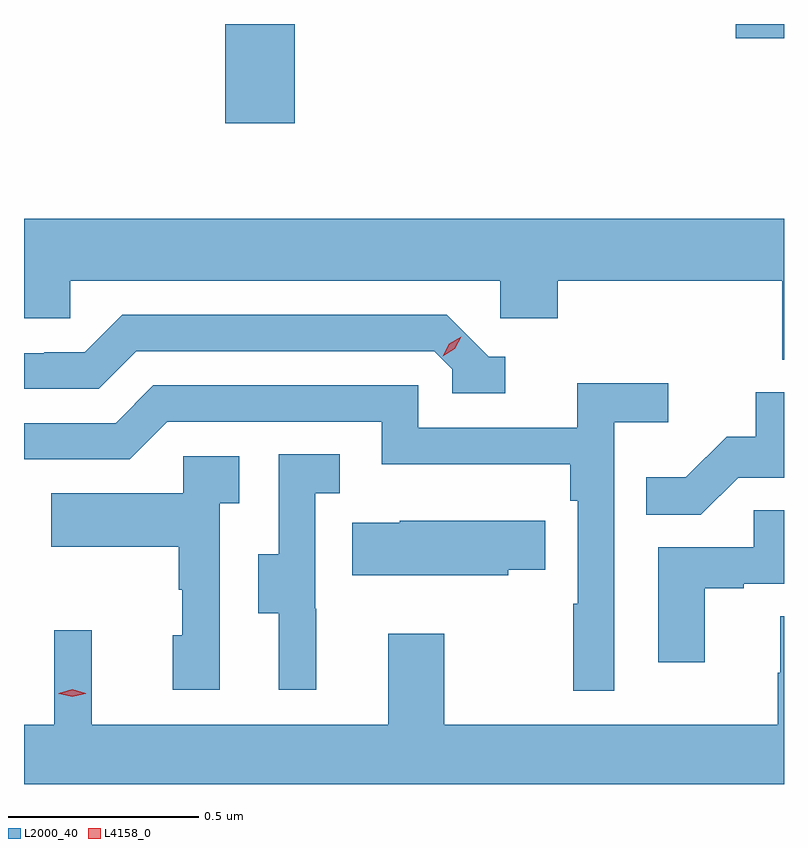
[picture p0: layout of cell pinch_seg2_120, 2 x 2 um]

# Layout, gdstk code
import gdstk
lib = gdstk.Library(unit=1e-6, precision=1e-09)
def R(c, l, rs):  # rectangles x0, y0, x1, y1
    for r in rs: c.add(gdstk.rectangle(r[:2], r[2:], *l))
def P(c, l, *ps):  # polygons
    for p in ps: c.add(gdstk.Polygon(p, *l))
L2000_40 = (2000, 40)
L4158_0 = (4158, 0)

pinch_seg2_120 = lib.new_cell('pinch_seg2_120')
R(pinch_seg2_120, L2000_40, [(1029.356,642.723,1029.539,642.984), (1030.7,642.946,1030.827,642.984)])
P(pinch_seg2_120, L2000_40, [(1030.827,642.472),(1028.827,642.472),(1028.827,642.21),(1028.949,642.21),(1028.949,642.308),(1030.08,642.308),(1030.08,642.21),(1030.232,642.21),(1030.232,642.308),(1030.823,642.308),(1030.823,642.1),(1030.827,642.1)],
  [(1030.093,642.108),(1030.05,642.108),(1029.939,642.219),(1029.086,642.219),(1028.987,642.12),(1028.88,642.12),(1028.88,642.117),(1028.827,642.117),(1028.827,642.024),(1029.024,642.024),(1029.123,642.123),(1029.906,642.123),(1029.954,642.075),(1029.954,642.012),(1030.093,642.012)],
  [(1030.38,641.936),(1030.522,641.936),(1030.522,642.038),(1030.283,642.038),(1030.283,641.922),(1029.864,641.922),(1029.864,642.033),(1029.167,642.033),(1029.068,641.934),(1028.827,641.934),(1028.827,641.838),(1029.105,641.838),(1029.204,641.937),(1029.768,641.937),(1029.768,641.825),(1030.264,641.825),(1030.264,641.729),(1030.284,641.729),(1030.284,641.459),(1030.272,641.459),(1030.272,641.229),(1030.38,641.229)],
  [(1030.706,641.79),(1030.827,641.79),(1030.827,642.015),(1030.753,642.015),(1030.753,641.898),(1030.676,641.898),(1030.569,641.791),(1030.465,641.791),(1030.465,641.692),(1030.608,641.692)],
  [(1029.596,641.445),(1029.594,641.445),(1029.594,641.749),(1029.658,641.749),(1029.658,641.852),(1029.498,641.852),(1029.498,641.589),(1029.443,641.589),(1029.443,641.434),(1029.497,641.434),(1029.497,641.232),(1029.596,641.232)],
  [(1029.342,641.723),(1029.394,641.723),(1029.394,641.847),(1029.246,641.847),(1029.246,641.749),(1028.899,641.749),(1028.899,641.609),(1029.234,641.609),(1029.234,641.495),(1029.244,641.495),(1029.244,641.376),(1029.218,641.376),(1029.218,641.232),(1029.342,641.232)],
  [(1030.618,641.499),(1030.721,641.499),(1030.721,641.511),(1030.827,641.511),(1030.827,641.705),(1030.747,641.705),(1030.747,641.607),(1030.496,641.607),(1030.496,641.304),(1030.618,641.304)],
  [(1030.101,641.548),(1030.199,641.548),(1030.199,641.677),(1029.816,641.677),(1029.816,641.671),(1029.691,641.671),(1029.691,641.534),(1030.101,641.534)],
  [(1030.827,641.426),(1030.817,641.426),(1030.817,641.277),(1030.81,641.277),(1030.81,641.14),(1029.933,641.14),(1029.933,641.38),(1029.785,641.38),(1029.785,641.14),(1029.005,641.14),(1029.005,641.389),(1028.907,641.389),(1028.907,641.14),(1028.827,641.14),(1028.827,640.984),(1030.827,640.984)])
P(pinch_seg2_120, L4158_0, [(1028.954,641.213),(1028.919,641.222),(1028.918,641.223),(1028.919,641.223),(1028.954,641.233),(1028.99,641.223),(1028.99,641.223),(1028.99,641.222)],
  [(1029.929,642.11),(1029.929,642.11),(1029.946,642.142),(1029.977,642.161),(1029.977,642.161),(1029.977,642.161),(1029.96,642.129),(1029.929,642.11)])

lib.write_gds('pinch_seg2_120.gds')
